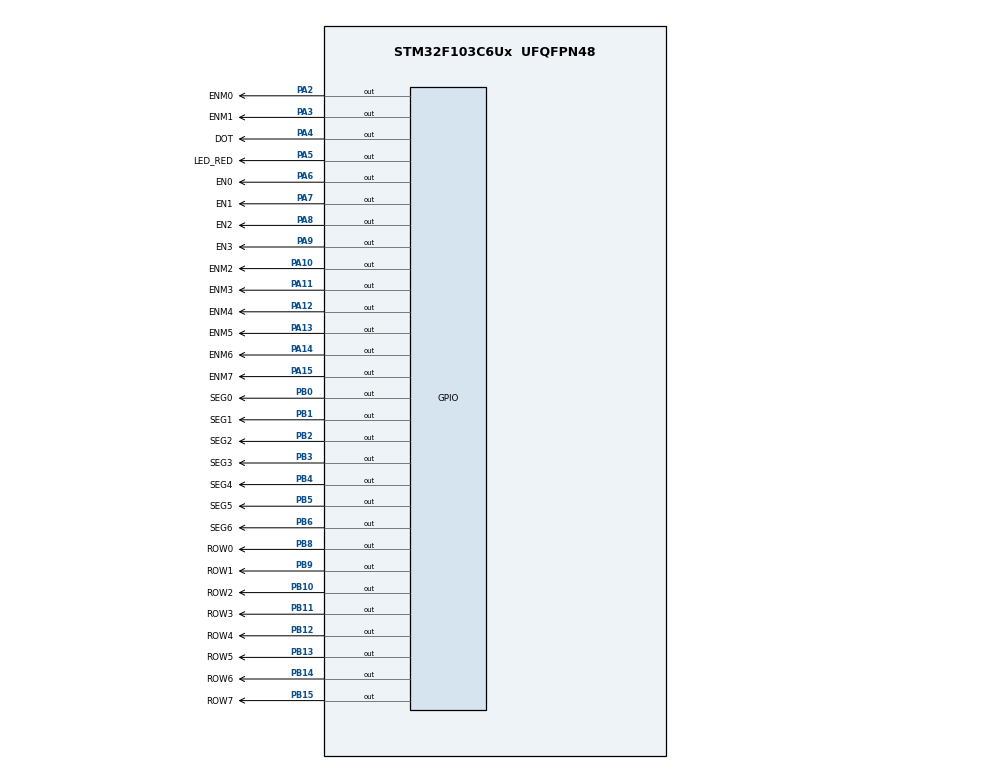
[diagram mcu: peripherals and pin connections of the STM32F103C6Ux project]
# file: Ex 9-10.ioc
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Mcu.Family=STM32F1
Mcu.Name=STM32F103C6Ux
Mcu.Package=UFQFPN48
NVIC.PriorityGroup=NVIC_PRIORITYGROUP_4
NVIC.TIM2_IRQn=true\:0\:0\:false\:false\:true\:true\:true
PA10.GPIO_Label=ENM2
PA10.PinState=GPIO_PIN_SET
PA10.Signal=GPIO_Output
PA11.GPIO_Label=ENM3
PA11.PinState=GPIO_PIN_SET
PA11.Signal=GPIO_Output
PA12.GPIO_Label=ENM4
PA12.PinState=GPIO_PIN_SET
PA12.Signal=GPIO_Output
PA13.GPIO_Label=ENM5
PA13.PinState=GPIO_PIN_SET
PA13.Signal=GPIO_Output
PA14.GPIO_Label=ENM6
PA14.PinState=GPIO_PIN_SET
PA14.Signal=GPIO_Output
PA15.GPIO_Label=ENM7
PA15.PinState=GPIO_PIN_SET
PA15.Signal=GPIO_Output
PA2.GPIO_Label=ENM0
PA2.PinState=GPIO_PIN_SET
PA2.Signal=GPIO_Output
PA3.GPIO_Label=ENM1
PA3.PinState=GPIO_PIN_SET
PA3.Signal=GPIO_Output
PA4.GPIO_Label=DOT
PA4.PinState=GPIO_PIN_SET
PA4.Signal=GPIO_Output
PA5.GPIO_Label=LED_RED
PA5.PinState=GPIO_PIN_SET
PA5.Signal=GPIO_Output
PA6.GPIO_Label=EN0
PA6.PinState=GPIO_PIN_SET
PA6.Signal=GPIO_Output
PA7.GPIO_Label=EN1
PA7.PinState=GPIO_PIN_SET
PA7.Signal=GPIO_Output
PA8.GPIO_Label=EN2
PA8.PinState=GPIO_PIN_SET
PA8.Signal=GPIO_Output
PA9.GPIO_Label=EN3
PA9.PinState=GPIO_PIN_SET
PA9.Signal=GPIO_Output
PB0.GPIO_Label=SEG0
PB0.PinState=GPIO_PIN_SET
PB0.Signal=GPIO_Output
PB1.GPIO_Label=SEG1
PB1.PinState=GPIO_PIN_SET
PB1.Signal=GPIO_Output
PB10.GPIO_Label=ROW2
PB10.PinState=GPIO_PIN_SET
PB10.Signal=GPIO_Output
PB11.GPIO_Label=ROW3
PB11.PinState=GPIO_PIN_SET
PB11.Signal=GPIO_Output
PB12.GPIO_Label=ROW4
PB12.PinState=GPIO_PIN_SET
PB12.Signal=GPIO_Output
PB13.GPIO_Label=ROW5
PB13.PinState=GPIO_PIN_SET
PB13.Signal=GPIO_Output
PB14.GPIO_Label=ROW6
PB14.PinState=GPIO_PIN_SET
PB14.Signal=GPIO_Output
PB15.GPIO_Label=ROW7
PB15.PinState=GPIO_PIN_SET
PB15.Signal=GPIO_Output
PB2.GPIO_Label=SEG2
PB2.PinState=GPIO_PIN_SET
PB2.Signal=GPIO_Output
PB3.GPIO_Label=SEG3
PB3.PinState=GPIO_PIN_SET
PB3.Signal=GPIO_Output
PB4.GPIO_Label=SEG4
PB4.PinState=GPIO_PIN_SET
PB4.Signal=GPIO_Output
PB5.GPIO_Label=SEG5
PB5.PinState=GPIO_PIN_SET
PB5.Signal=GPIO_Output
PB6.GPIO_Label=SEG6
PB6.PinState=GPIO_PIN_SET
PB6.Signal=GPIO_Output
PB8.GPIO_Label=ROW0
PB8.PinState=GPIO_PIN_SET
PB8.Signal=GPIO_Output
PB9.GPIO_Label=ROW1
PB9.PinState=GPIO_PIN_SET
PB9.Signal=GPIO_Output
ProjectManager.HeapSize=0x200
ProjectManager.StackSize=0x400
ProjectManager.TargetToolchain=STM32CubeIDE
RCC.APB1Freq_Value=8000000
RCC.APB2Freq_Value=8000000
TIM2.Period=9
TIM2.Prescaler=799
VP_SYS_VS_ND.Mode=No_Debug
VP_TIM2_VS_ClockSourceINT.Mode=Internal
board=custom

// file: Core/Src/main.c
/* USER CODE BEGIN Header */
/**
  ******************************************************************************
  * @file           : main.c
  * @brief          : Main program body
  ******************************************************************************
  * @attention
  *
  * <h2><center>&copy; Copyright (c) 2026 STMicroelectronics.
  * All rights reserved.</center></h2>
  *
  * This software component is licensed by ST under BSD 3-Clause license,
  * the "License"; You may not use this file except in compliance with the
  * License. You may obtain a copy of the License at:
  *                        opensource.org/licenses/BSD-3-Clause
  *
  ******************************************************************************
  */
/* USER CODE END Header */
#include "main.h"

/* USER CODE BEGIN PD */
#define MATRIX_SCAN_MS 2
#define MATRIX_SCROLL_MS 300
/* USER CODE END PD */

TIM_HandleTypeDef htim2;

/* USER CODE BEGIN PV */
const int MAX_LED_MATRIX = 8;
int index_led_matrix = 0;
uint8_t matrix_buffer[8] = {0xFF, 0x81, 0xEE, 0xEE, 0xEE, 0x81, 0xFF, 0xFF};

const int TIMER_CYCLE = 1; // TIM2 tick: 1 ms.
volatile int timer0_counter = 0;
volatile int timer0_flag = 0;
volatile int timer1_counter = 0;
volatile int timer1_flag = 0;
/* USER CODE END PV */

void SystemClock_Config(void);
static void MX_TIM2_Init(void);
static void MX_GPIO_Init(void);
/* USER CODE BEGIN PFP */
void updateLEDMatrix(int index);
void shiftLEDMatrixLeft(void);
void setTimer0(int duration);
void setTimer1(int duration);
void timer_run(void);
/* USER CODE END PFP */

/* USER CODE BEGIN 0 */
void setTimer0(int duration) {
    timer0_counter= duration/TIMER_CYCLE;
    timer0_flag= 0;
}

void setTimer1(int duration) {
    timer1_counter= duration/TIMER_CYCLE;
    timer1_flag= 0;
}

void timer_run(void) {
    if (timer0_counter> 0) {
        timer0_counter--;
        if (timer0_counter== 0) {
            timer0_flag= 1;
        }
    }

    if (timer1_counter> 0) {
        timer1_counter--;
        if (timer1_counter== 0) {
            timer1_flag= 1;
        }
    }
}
/* USER CODE END 0 */

int main(void)
{

  /* MCU Configuration--------------------------------------------------------*/

  /* Reset of all peripherals, Initializes the Flash interface and the Systick. */
  HAL_Init();

  /* Configure the system clock */
  SystemClock_Config();

  /* Initialize all configured peripherals */
  MX_TIM2_Init();
  MX_GPIO_Init();
  /* USER CODE BEGIN 2 */
  HAL_GPIO_WritePin(GPIOA, ENM0_Pin|ENM1_Pin|ENM2_Pin|ENM3_Pin|
                          ENM4_Pin|ENM5_Pin|ENM6_Pin|ENM7_Pin, GPIO_PIN_SET);
  HAL_GPIO_WritePin(GPIOB, 0xFF00, GPIO_PIN_SET);
  setTimer0(MATRIX_SCAN_MS);
  setTimer1(MATRIX_SCROLL_MS);
  __HAL_TIM_CLEAR_FLAG(&htim2, TIM_FLAG_UPDATE);
  HAL_TIM_Base_Start_IT(&htim2);
  /* USER CODE END 2 */

  /* Infinite loop */
  /* USER CODE BEGIN WHILE */
  while (1)
  {
      if (timer0_flag == 1) {
          setTimer0(MATRIX_SCAN_MS);

          // Shift only before the first column of a new frame.
          if (index_led_matrix == 0 && timer1_flag == 1) {
              setTimer1(MATRIX_SCROLL_MS);
              shiftLEDMatrixLeft();
          }

          updateLEDMatrix(index_led_matrix++);
          if (index_led_matrix >= MAX_LED_MATRIX) {
              index_led_matrix = 0;
          }
      }
  }
    /* USER CODE END WHILE */

}

void SystemClock_Config(void)
{
  RCC_OscInitTypeDef RCC_OscInitStruct = {0};
  RCC_ClkInitTypeDef RCC_ClkInitStruct = {0};

  /** Initializes the RCC Oscillators according to the specified parameters
  * in the RCC_OscInitTypeDef structure.
  */
  RCC_OscInitStruct.OscillatorType = RCC_OSCILLATORTYPE_HSI;
  RCC_OscInitStruct.HSIState = RCC_HSI_ON;
  RCC_OscInitStruct.HSICalibrationValue = RCC_HSICALIBRATION_DEFAULT;
  RCC_OscInitStruct.PLL.PLLState = RCC_PLL_NONE;
  if (HAL_RCC_OscConfig(&RCC_OscInitStruct) != HAL_OK)
  {
    Error_Handler();
  }
  /** Initializes the CPU, AHB and APB buses clocks
  */
  RCC_ClkInitStruct.ClockType = RCC_CLOCKTYPE_HCLK|RCC_CLOCKTYPE_SYSCLK
                              |RCC_CLOCKTYPE_PCLK1|RCC_CLOCKTYPE_PCLK2;
  RCC_ClkInitStruct.SYSCLKSource = RCC_SYSCLKSOURCE_HSI;
  RCC_ClkInitStruct.AHBCLKDivider = RCC_SYSCLK_DIV1;
  RCC_ClkInitStruct.APB1CLKDivider = RCC_HCLK_DIV1;
  RCC_ClkInitStruct.APB2CLKDivider = RCC_HCLK_DIV1;

  if (HAL_RCC_ClockConfig(&RCC_ClkInitStruct, FLASH_LATENCY_0) != HAL_OK)
  {
    Error_Handler();
  }
}

static void MX_TIM2_Init(void)
{

  TIM_ClockConfigTypeDef sClockSourceConfig = {0};
  TIM_MasterConfigTypeDef sMasterConfig = {0};

  htim2.Instance = TIM2;
  htim2.Init.Prescaler = 799;
  htim2.Init.CounterMode = TIM_COUNTERMODE_UP;
  htim2.Init.Period = 9;
  htim2.Init.ClockDivision = TIM_CLOCKDIVISION_DIV1;
  htim2.Init.AutoReloadPreload = TIM_AUTORELOAD_PRELOAD_DISABLE;
  if (HAL_TIM_Base_Init(&htim2) != HAL_OK)
  {
    Error_Handler();
  }
  sClockSourceConfig.ClockSource = TIM_CLOCKSOURCE_INTERNAL;
  if (HAL_TIM_ConfigClockSource(&htim2, &sClockSourceConfig) != HAL_OK)
  {
    Error_Handler();
  }
  sMasterConfig.MasterOutputTrigger = TIM_TRGO_RESET;
  sMasterConfig.MasterSlaveMode = TIM_MASTERSLAVEMODE_DISABLE;
  if (HAL_TIMEx_MasterConfigSynchronization(&htim2, &sMasterConfig) != HAL_OK)
  {
    Error_Handler();
  }

}

static void MX_GPIO_Init(void)
{
  GPIO_InitTypeDef GPIO_InitStruct = {0};

  /* GPIO Ports Clock Enable */
  __HAL_RCC_GPIOA_CLK_ENABLE();
  __HAL_RCC_GPIOB_CLK_ENABLE();

  /*Configure GPIO pin Output Level */
  HAL_GPIO_WritePin(GPIOA, ENM0_Pin|ENM1_Pin|DOT_Pin|LED_RED_Pin
                          |EN0_Pin|EN1_Pin|EN2_Pin|EN3_Pin
                          |ENM2_Pin|ENM3_Pin|ENM4_Pin|ENM5_Pin
                          |ENM6_Pin|ENM7_Pin, GPIO_PIN_SET);

  /*Configure GPIO pin Output Level */
  HAL_GPIO_WritePin(GPIOB, SEG0_Pin|SEG1_Pin|SEG2_Pin|ROW2_Pin
                          |ROW3_Pin|ROW4_Pin|ROW5_Pin|ROW6_Pin
                          |ROW7_Pin|SEG3_Pin|SEG4_Pin|SEG5_Pin
                          |SEG6_Pin|ROW0_Pin|ROW1_Pin, GPIO_PIN_SET);

  /*Configure GPIO pins : ENM0_Pin ENM1_Pin DOT_Pin LED_RED_Pin
                           EN0_Pin EN1_Pin EN2_Pin EN3_Pin
                           ENM2_Pin ENM3_Pin ENM4_Pin ENM5_Pin
                           ENM6_Pin ENM7_Pin */
  GPIO_InitStruct.Pin = ENM0_Pin|ENM1_Pin|DOT_Pin|LED_RED_Pin
                          |EN0_Pin|EN1_Pin|EN2_Pin|EN3_Pin
                          |ENM2_Pin|ENM3_Pin|ENM4_Pin|ENM5_Pin
                          |ENM6_Pin|ENM7_Pin;
  GPIO_InitStruct.Mode = GPIO_MODE_OUTPUT_PP;
  GPIO_InitStruct.Pull = GPIO_NOPULL;
  GPIO_InitStruct.Speed = GPIO_SPEED_FREQ_LOW;
  HAL_GPIO_Init(GPIOA, &GPIO_InitStruct);

  /*Configure GPIO pins : SEG0_Pin SEG1_Pin SEG2_Pin ROW2_Pin
                           ROW3_Pin ROW4_Pin ROW5_Pin ROW6_Pin
                           ROW7_Pin SEG3_Pin SEG4_Pin SEG5_Pin
                           SEG6_Pin ROW0_Pin ROW1_Pin */
  GPIO_InitStruct.Pin = SEG0_Pin|SEG1_Pin|SEG2_Pin|ROW2_Pin
                          |ROW3_Pin|ROW4_Pin|ROW5_Pin|ROW6_Pin
                          |ROW7_Pin|SEG3_Pin|SEG4_Pin|SEG5_Pin
                          |SEG6_Pin|ROW0_Pin|ROW1_Pin;
  GPIO_InitStruct.Mode = GPIO_MODE_OUTPUT_PP;
  GPIO_InitStruct.Pull = GPIO_NOPULL;
  GPIO_InitStruct.Speed = GPIO_SPEED_FREQ_LOW;
  HAL_GPIO_Init(GPIOB, &GPIO_InitStruct);

}

/* USER CODE BEGIN 4 */
void updateLEDMatrix(int index) {
    if (index<0 || index>=MAX_LED_MATRIX) return;

    HAL_GPIO_WritePin(GPIOA, ENM0_Pin|ENM1_Pin|ENM2_Pin|ENM3_Pin|ENM4_Pin|ENM5_Pin|ENM6_Pin|ENM7_Pin, GPIO_PIN_SET);

    GPIOB->ODR = (GPIOB->ODR & 0x00FF) | ((uint16_t)(matrix_buffer[index]) << 8);

    switch (index) {
        case 0:
            HAL_GPIO_WritePin(GPIOA, ENM0_Pin, GPIO_PIN_RESET);
            break;
        case 1:
            HAL_GPIO_WritePin(GPIOA, ENM1_Pin, GPIO_PIN_RESET);
            break;
        case 2:
            HAL_GPIO_WritePin(GPIOA, ENM2_Pin, GPIO_PIN_RESET);
            break;
        case 3:
            HAL_GPIO_WritePin(GPIOA, ENM3_Pin, GPIO_PIN_RESET);
            break;
        case 4:
            HAL_GPIO_WritePin(GPIOA, ENM4_Pin, GPIO_PIN_RESET);
            break;
        case 5:
            HAL_GPIO_WritePin(GPIOA, ENM5_Pin, GPIO_PIN_RESET);
            break;
        case 6:
            HAL_GPIO_WritePin(GPIOA, ENM6_Pin, GPIO_PIN_RESET);
            break;
        case 7:
            HAL_GPIO_WritePin(GPIOA, ENM7_Pin, GPIO_PIN_RESET);
            break;
        default:
            break;
    }
}

void shiftLEDMatrixLeft(void) {
    uint8_t first_column= matrix_buffer[0];

    for (int i= 0; i<MAX_LED_MATRIX-1; i++) {
        matrix_buffer[i]= matrix_buffer[i+1];
    }
    matrix_buffer[MAX_LED_MATRIX-1]= first_column;
}

void HAL_TIM_PeriodElapsedCallback(TIM_HandleTypeDef *htim) {
    if (htim->Instance==TIM2) {
        timer_run();
    }
}
/* USER CODE END 4 */

void Error_Handler(void)
{
  __disable_irq();
  while (1)
  {
  }
}

/************************ (C) COPYRIGHT STMicroelectronics *****END OF FILE****/
